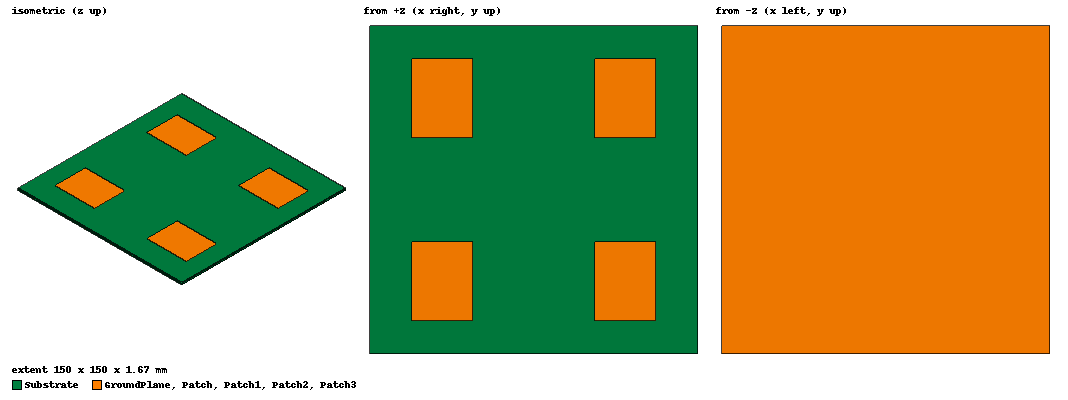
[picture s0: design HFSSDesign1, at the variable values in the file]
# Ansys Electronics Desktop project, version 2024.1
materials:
  vacuum: permittivity=1
  FR4_epoxy: permittivity=4.4 dielectric_loss_tangent=0.02
  copper: permeability=0.999991 conductivity=58000000

design HFSSDesign1 (HFSS, HFSS Terminal Network, model units mm)
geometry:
  Patch [copper] = box(corner=(28.04mm, 23.91mm, 1.6mm), size=(27.92mm, 36.18mm, 35um))
  Substrate [FR4_epoxy] = box(corner=(-75mm, -75mm, 0mm), size=(150mm, 150mm, 1.6mm))
  GroundPlane [copper] = box(corner=(-75mm, -75mm, -35um), size=(150mm, 150mm, 35um))
  Patch1 [copper] = box(corner=(-55.96mm, 23.91mm, 1.6mm), size=(27.92mm, 36.18mm, 35um))
  Patch2 [copper] = box(corner=(28.04mm, -60.09mm, 1.6mm), size=(27.92mm, 36.18mm, 35um))
  Patch3 [copper] = box(corner=(-55.96mm, -60.09mm, 1.6mm), size=(27.92mm, 36.18mm, 35um))
